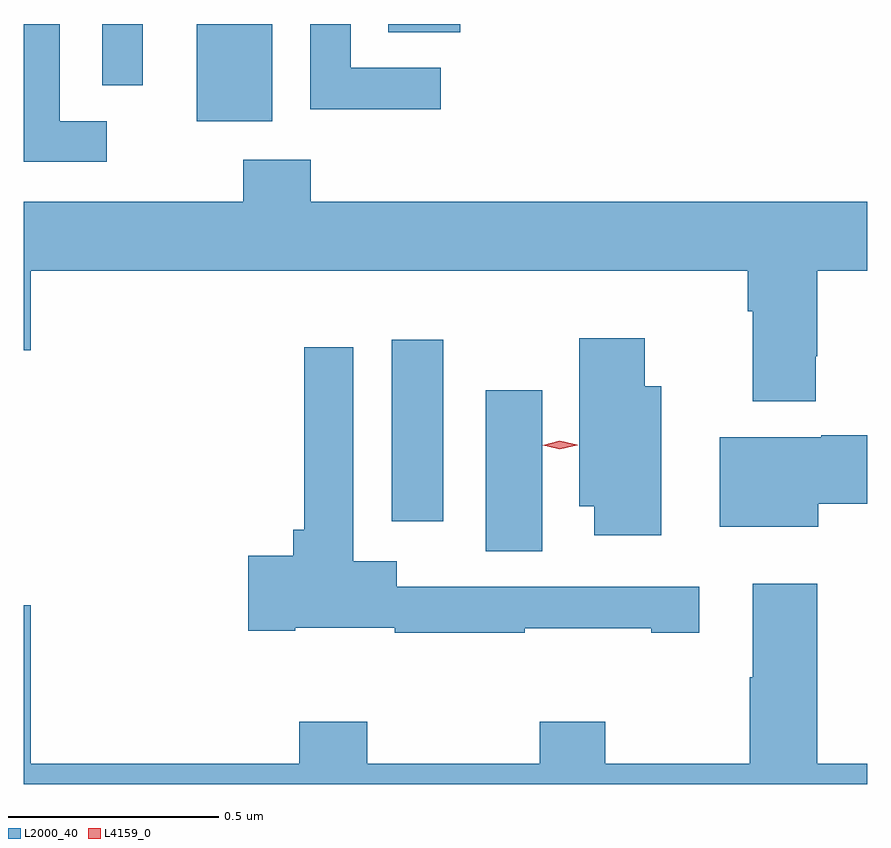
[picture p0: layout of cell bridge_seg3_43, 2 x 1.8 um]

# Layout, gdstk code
import gdstk
lib = gdstk.Library(unit=1e-6, precision=1e-09)
def R(c, l, rs):  # rectangles x0, y0, x1, y1
    for r in rs: c.add(gdstk.rectangle(r[:2], r[2:], *l))
def P(c, l, *ps):  # polygons
    for p in ps: c.add(gdstk.Polygon(p, *l))
L2000_40 = (2000, 40)
L4159_0 = (4159, 0)

bridge_seg3_43 = lib.new_cell('bridge_seg3_43')
R(bridge_seg3_43, L2000_40, [(813.602,666.952,813.736,667.333), (813.38,667.023,813.502,667.453), (812.918,667.97,813.097,668.201), (812.694,668.056,812.79,668.201), (813.371,668.182,813.542,668.201)])
P(bridge_seg3_43, L2000_40, [(812.704,667.971),(812.593,667.971),(812.593,668.201),(812.507,668.201),(812.507,667.875),(812.704,667.875)],
  [(813.496,668.097),(813.282,668.097),(813.282,668.201),(813.186,668.201),(813.186,667.999),(813.496,667.999)],
  [(814.384,667.414),(814.388,667.414),(814.388,667.616),(814.507,667.616),(814.507,667.78),(813.188,667.78),(813.188,667.879),(813.028,667.879),(813.028,667.78),(812.507,667.78),(812.507,667.428),(812.524,667.428),(812.524,667.616),(814.223,667.616),(814.223,667.52),(814.235,667.52),(814.235,667.307),(814.384,667.307)],
  [(814.018,667.342),(813.979,667.342),(813.979,667.456),(813.824,667.456),(813.824,667.058),(813.86,667.058),(813.86,666.99),(814.018,666.99)],
  [(813.695,666.769),(813.995,666.769),(813.995,666.759),(814.108,666.759),(814.108,666.867),(813.391,666.867),(813.391,666.928),(813.288,666.928),(813.288,667.435),(813.172,667.435),(813.172,667.003),(813.146,667.003),(813.146,666.941),(813.039,666.941),(813.039,666.763),(813.151,666.763),(813.151,666.77),(813.387,666.77),(813.387,666.759),(813.695,666.759)],
  [(814.39,667.064),(814.507,667.064),(814.507,667.227),(814.397,667.227),(814.397,667.222),(814.157,667.222),(814.157,667.01),(814.39,667.01)],
  [(814.507,666.448),(814.388,666.448),(814.388,666.874),(814.235,666.874),(814.235,666.653),(814.228,666.653),(814.228,666.448),(813.885,666.448),(813.885,666.547),(813.73,666.547),(813.73,666.448),(813.321,666.448),(813.321,666.547),(813.161,666.547),(813.161,666.448),(812.524,666.448),(812.524,666.823),(812.507,666.823),(812.507,666.4),(814.507,666.4)])
P(bridge_seg3_43, L4159_0, [(813.778,667.193),(813.737,667.203),(813.737,667.203),(813.737,667.203),(813.778,667.213),(813.819,667.204),(813.82,667.203),(813.819,667.203)])

lib.write_gds('bridge_seg3_43.gds')
